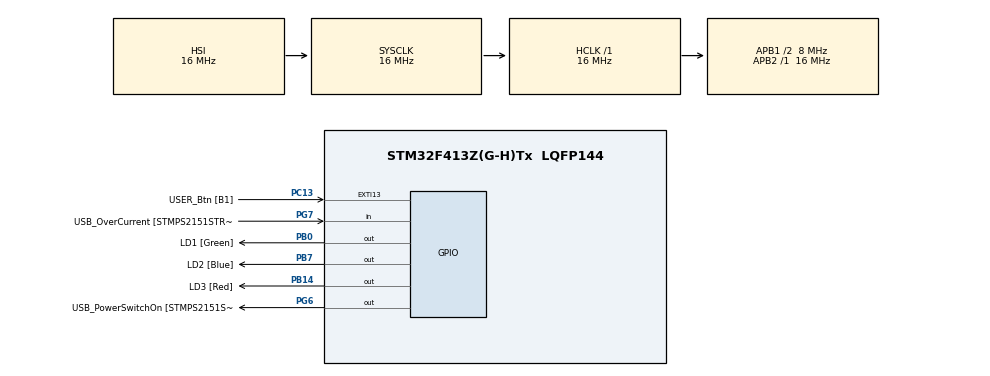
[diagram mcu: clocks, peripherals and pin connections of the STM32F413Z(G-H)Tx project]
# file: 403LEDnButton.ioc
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Mcu.Family=STM32F4
Mcu.Name=STM32F413Z(G-H)Tx
Mcu.Package=LQFP144
NVIC.PriorityGroup=NVIC_PRIORITYGROUP_4
NVIC.TIM6_DAC_IRQn=true\:15\:0\:false\:false\:true\:false\:true\:true
NVIC.TimeBase=TIM6_DAC_IRQn
NVIC.TimeBaseIP=TIM6
PA10.GPIO_Label=USB_ID
PA10.Signal=USB_OTG_FS_ID
PA11.GPIO_Label=USB_DM
PA11.Signal=USB_OTG_FS_DM
PA12.GPIO_Label=USB_DP
PA12.Signal=USB_OTG_FS_DP
PA13.GPIO_Label=TMS
PA13.Signal=SYS_JTMS-SWDIO
PA14.GPIO_Label=TCK
PA14.Signal=SYS_JTCK-SWCLK
PA8.GPIO_Label=USB_SOF [TP1]
PA8.Signal=USB_OTG_FS_SOF
PA9.GPIO_Label=USB_VBUS
PA9.Signal=USB_OTG_FS_VBUS
PB0.GPIO_Label=LD1 [Green]
PB0.Signal=GPIO_Output
PB14.GPIO_Label=LD3 [Red]
PB14.Signal=GPIO_Output
PB3.GPIO_Label=SWO
PB3.Signal=SYS_JTDO-SWO
PB7.GPIO_Label=LD2 [Blue]
PB7.Signal=GPIO_Output
PC13.GPIO_Label=USER_Btn [B1]
PC13.Signal=GPXTI13
PC14-OSC32_IN.Signal=RCC_OSC32_IN
PC15-OSC32_OUT.Signal=RCC_OSC32_OUT
PD8.GPIO_Label=STLK_RX [STM32F103CBT6_PA3]
PD8.Signal=USART3_TX
PD9.GPIO_Label=STLK_TX [STM32F103CBT6_PA2]
PD9.Signal=USART3_RX
PG6.GPIO_Label=USB_PowerSwitchOn [STMPS2151STR_EN]
PG6.Signal=GPIO_Output
PG7.GPIO_Label=USB_OverCurrent [STMPS2151STR_FAULT]
PG7.Signal=GPIO_Input
PH0\ -\ OSC_IN.GPIO_Label=MCO
PH0\ -\ OSC_IN.Signal=RCC_OSC_IN
PH1\ -\ OSC_OUT.Signal=RCC_OSC_OUT
ProjectManager.HeapSize=0x200
ProjectManager.StackSize=0x400
ProjectManager.TargetToolchain=STM32CubeIDE
RCC.48MHZClocksFreq_Value=24000000
RCC.AHBFreq_Value=16000000
RCC.APB1CLKDivider=RCC_HCLK_DIV2
RCC.APB1Freq_Value=8000000
RCC.APB1TimFreq_Value=16000000
RCC.APB2Freq_Value=16000000
RCC.APB2TimFreq_Value=16000000
RCC.CortexFreq_Value=16000000
RCC.HCLKFreq_Value=16000000
RCC.HSE_VALUE=8000000
RCC.HSI_VALUE=16000000
RCC.PLLMUL=RCC_PLL_MUL9
RCC.PRESCALERUSB=RCC_USBCLKSOURCE_PLL_DIV1_5
RCC.SYSCLKFreq_VALUE=16000000
RCC.SYSCLKSourceVirtual=RCC_SYSCLKSOURCE_PLLCLK
RCC.USBFreq_Value=96000000
RCC.VCOOutputFreq_Value=192000000
VP_SYS_VS_tim6.Mode=TIM6
board=NUCLEO-F413ZH

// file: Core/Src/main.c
/* USER CODE BEGIN Header */
/**
  ******************************************************************************
  * @file           : main.c
  * @brief          : Main program body
  ******************************************************************************
  * @attention
  *
  * Copyright (c) 2024 STMicroelectronics.
  * All rights reserved.
  *
  * This software is licensed under terms that can be found in the LICENSE file
  * in the root directory of this software component.
  * If no LICENSE file comes with this software, it is provided AS-IS.
  *
  ******************************************************************************
  */
/* USER CODE END Header */
#include "main.h"

/* USER CODE BEGIN Includes */
#include <stdio.h>
#include "FreeRTOS.h"
#include "task.h"
/* USER CODE END Includes */

/* USER CODE BEGIN PV */
#define DWT_CTRL (*(volatile uint32_t*)0xE0001000)

TaskHandle_t LED1_task_handle;
TaskHandle_t LED2_task_handle;
TaskHandle_t LED3_task_handle;
TaskHandle_t BTN_task_handle;

TaskHandle_t next_task_handle = NULL;

BaseType_t status;
/* USER CODE END PV */

void SystemClock_Config(void);
static void MX_GPIO_Init(void);
/* USER CODE BEGIN PFP */

static void led_green_handler(void* parameters);
static void led_blue_handler(void* parameters);
static void led_red_handler(void* parameters);
static void btn_handler(void* parameters);

/* USER CODE END PFP */

int main(void)
{

  /* MCU Configuration--------------------------------------------------------*/

  /* Reset of all peripherals, Initializes the Flash interface and the Systick. */
  HAL_Init();

  /* Configure the system clock */
  SystemClock_Config();

  /* Initialize all configured peripherals */
  MX_GPIO_Init();
  /* USER CODE BEGIN 2 */

  DWT_CTRL |= (1<<0);

  SEGGER_SYSVIEW_Conf();

  SEGGER_SYSVIEW_Start();

  status = xTaskCreate(led_green_handler, "LED_green_task", 200, NULL, 3, &LED1_task_handle);

  configASSERT(status == pdPASS);

  next_task_handle = LED1_task_handle;

  status = xTaskCreate(led_blue_handler, "LED_blue_task", 200, NULL, 2, &LED2_task_handle);

  configASSERT(status == pdPASS);

  status = xTaskCreate(led_red_handler, "LED_red_task", 200, NULL, 1, &LED3_task_handle);

  configASSERT(status == pdPASS);

  status = xTaskCreate(btn_handler, "Button_task", 200, NULL, 4, &BTN_task_handle);

  configASSERT(status == pdPASS);

  //Start the FreeRTOS scheduler
  vTaskStartScheduler();

  /* USER CODE END 2 */

  /* Infinite loop */
  while (1)
  {

  }
}

void SystemClock_Config(void)
{
  RCC_OscInitTypeDef RCC_OscInitStruct = {0};
  RCC_ClkInitTypeDef RCC_ClkInitStruct = {0};

  /** Configure the main internal regulator output voltage
  */
  __HAL_RCC_PWR_CLK_ENABLE();
  __HAL_PWR_VOLTAGESCALING_CONFIG(PWR_REGULATOR_VOLTAGE_SCALE1);

  /** Initializes the RCC Oscillators according to the specified parameters
  * in the RCC_OscInitTypeDef structure.
  */
  RCC_OscInitStruct.OscillatorType = RCC_OSCILLATORTYPE_HSI;
  RCC_OscInitStruct.HSIState = RCC_HSI_ON;
  RCC_OscInitStruct.HSICalibrationValue = RCC_HSICALIBRATION_DEFAULT;
  RCC_OscInitStruct.PLL.PLLState = RCC_PLL_NONE;
  if (HAL_RCC_OscConfig(&RCC_OscInitStruct) != HAL_OK)
  {
    Error_Handler();
  }

  /** Initializes the CPU, AHB and APB buses clocks
  */
  RCC_ClkInitStruct.ClockType = RCC_CLOCKTYPE_HCLK|RCC_CLOCKTYPE_SYSCLK
                              |RCC_CLOCKTYPE_PCLK1|RCC_CLOCKTYPE_PCLK2;
  RCC_ClkInitStruct.SYSCLKSource = RCC_SYSCLKSOURCE_HSI;
  RCC_ClkInitStruct.AHBCLKDivider = RCC_SYSCLK_DIV1;
  RCC_ClkInitStruct.APB1CLKDivider = RCC_HCLK_DIV2;
  RCC_ClkInitStruct.APB2CLKDivider = RCC_HCLK_DIV1;

  if (HAL_RCC_ClockConfig(&RCC_ClkInitStruct, FLASH_LATENCY_0) != HAL_OK)
  {
    Error_Handler();
  }
}

static void MX_GPIO_Init(void)
{
  GPIO_InitTypeDef GPIO_InitStruct = {0};

  /* GPIO Ports Clock Enable */
  __HAL_RCC_GPIOC_CLK_ENABLE();
  __HAL_RCC_GPIOH_CLK_ENABLE();
  __HAL_RCC_GPIOB_CLK_ENABLE();
  __HAL_RCC_GPIOD_CLK_ENABLE();
  __HAL_RCC_GPIOG_CLK_ENABLE();
  __HAL_RCC_GPIOA_CLK_ENABLE();

  /*Configure GPIO pin Output Level */
  HAL_GPIO_WritePin(GPIOB, LD1_Pin|LD3_Pin|LD2_Pin, GPIO_PIN_RESET);

  /*Configure GPIO pin Output Level */
  HAL_GPIO_WritePin(USB_PowerSwitchOn_GPIO_Port, USB_PowerSwitchOn_Pin, GPIO_PIN_RESET);

  /*Configure GPIO pin : USER_Btn_Pin */
  GPIO_InitStruct.Pin = USER_Btn_Pin;
  GPIO_InitStruct.Mode = GPIO_MODE_IT_RISING;
  GPIO_InitStruct.Pull = GPIO_NOPULL;
  HAL_GPIO_Init(USER_Btn_GPIO_Port, &GPIO_InitStruct);

  /*Configure GPIO pins : LD1_Pin LD3_Pin LD2_Pin */
  GPIO_InitStruct.Pin = LD1_Pin|LD3_Pin|LD2_Pin;
  GPIO_InitStruct.Mode = GPIO_MODE_OUTPUT_PP;
  GPIO_InitStruct.Pull = GPIO_NOPULL;
  GPIO_InitStruct.Speed = GPIO_SPEED_FREQ_LOW;
  HAL_GPIO_Init(GPIOB, &GPIO_InitStruct);

  /*Configure GPIO pins : STLK_RX_Pin STLK_TX_Pin */
  GPIO_InitStruct.Pin = STLK_RX_Pin|STLK_TX_Pin;
  GPIO_InitStruct.Mode = GPIO_MODE_AF_PP;
  GPIO_InitStruct.Pull = GPIO_NOPULL;
  GPIO_InitStruct.Speed = GPIO_SPEED_FREQ_VERY_HIGH;
  GPIO_InitStruct.Alternate = GPIO_AF7_USART3;
  HAL_GPIO_Init(GPIOD, &GPIO_InitStruct);

  /*Configure GPIO pin : USB_PowerSwitchOn_Pin */
  GPIO_InitStruct.Pin = USB_PowerSwitchOn_Pin;
  GPIO_InitStruct.Mode = GPIO_MODE_OUTPUT_PP;
  GPIO_InitStruct.Pull = GPIO_NOPULL;
  GPIO_InitStruct.Speed = GPIO_SPEED_FREQ_LOW;
  HAL_GPIO_Init(USB_PowerSwitchOn_GPIO_Port, &GPIO_InitStruct);

  /*Configure GPIO pin : USB_OverCurrent_Pin */
  GPIO_InitStruct.Pin = USB_OverCurrent_Pin;
  GPIO_InitStruct.Mode = GPIO_MODE_INPUT;
  GPIO_InitStruct.Pull = GPIO_NOPULL;
  HAL_GPIO_Init(USB_OverCurrent_GPIO_Port, &GPIO_InitStruct);

  /*Configure GPIO pins : USB_SOF_Pin USB_ID_Pin USB_DM_Pin USB_DP_Pin */
  GPIO_InitStruct.Pin = USB_SOF_Pin|USB_ID_Pin|USB_DM_Pin|USB_DP_Pin;
  GPIO_InitStruct.Mode = GPIO_MODE_AF_PP;
  GPIO_InitStruct.Pull = GPIO_NOPULL;
  GPIO_InitStruct.Speed = GPIO_SPEED_FREQ_VERY_HIGH;
  GPIO_InitStruct.Alternate = GPIO_AF10_OTG_FS;
  HAL_GPIO_Init(GPIOA, &GPIO_InitStruct);

}

/* USER CODE BEGIN 4 */
static void led_green_handler(void* parameters){
	BaseType_t status_2;
	while(1){
		//SEGGER_SYSVIEW_OnTaskStartExec(1);
		SEGGER_SYSVIEW_PrintfTarget("Toggling green LED");
		HAL_GPIO_TogglePin(GPIOB,LD1_Pin);
		status_2 = xTaskNotifyWait(0,0,NULL,pdMS_TO_TICKS(1000));
		if(status_2 == pdTRUE){
			vTaskSuspendAll();
			next_task_handle = LED2_task_handle;
			xTaskResumeAll();
			HAL_GPIO_WritePin(GPIOB,LD1_Pin,GPIO_PIN_SET);
			SEGGER_SYSVIEW_PrintfTarget("Delete green LED task");
			//SEGGER_SYSVIEW_OnTaskStopExec();
			vTaskDelete(NULL);
			}
		//SEGGER_SYSVIEW_OnTaskStopExec();
	}
}

static void led_blue_handler(void* parameters){
	BaseType_t status_2;
	while(1){
		//SEGGER_SYSVIEW_OnTaskStartExec(2);
		SEGGER_SYSVIEW_PrintfTarget("Toggling blue LED");
		HAL_GPIO_TogglePin(GPIOB,LD2_Pin);
		status_2 = xTaskNotifyWait(0,0,NULL,pdMS_TO_TICKS(800));
		if(status_2 == pdTRUE){
			vTaskSuspendAll();
			next_task_handle = LED3_task_handle;
			xTaskResumeAll();
			HAL_GPIO_WritePin(GPIOB,LD2_Pin,GPIO_PIN_SET);
			SEGGER_SYSVIEW_PrintfTarget("Delete blue LED task");
			//SEGGER_SYSVIEW_OnTaskStopExec();
			vTaskDelete(NULL);
		}
		//SEGGER_SYSVIEW_OnTaskStopExec();
	}
}

static void led_red_handler(void* parameters){
	BaseType_t status_2;
	while(1){
		//SEGGER_SYSVIEW_OnTaskStartExec(3);
		SEGGER_SYSVIEW_PrintfTarget("Toggling red LED");
		HAL_GPIO_TogglePin(GPIOB,LD3_Pin);
		status_2 = xTaskNotifyWait(0,0,NULL,pdMS_TO_TICKS(400));
		if(status_2 == pdTRUE){
			vTaskSuspendAll();
			next_task_handle = NULL;
			xTaskResumeAll();
			HAL_GPIO_WritePin(GPIOB,LD3_Pin,GPIO_PIN_SET);
			SEGGER_SYSVIEW_PrintfTarget("Delete red LED task");
			vTaskDelete(BTN_task_handle);
			//SEGGER_SYSVIEW_OnTaskStopExec();
			vTaskDelete(NULL);
		}
		//SEGGER_SYSVIEW_OnTaskStopExec();
	}
}

static void btn_handler(void* parameters){

	uint8_t btn_read = 0;
	uint8_t prev_read = 0;

	while(1){
		btn_read = HAL_GPIO_ReadPin(GPIOC, GPIO_PIN_13);

		if(btn_read){
			if(! prev_read){
				xTaskNotify(next_task_handle ,0,eNoAction);
			}
		}
		prev_read = btn_read;
		vTaskDelay(pdMS_TO_TICKS(10));
	}
}
/* USER CODE END 4 */

void HAL_TIM_PeriodElapsedCallback(TIM_HandleTypeDef *htim)
{
  if (htim->Instance == TIM6) {
    HAL_IncTick();
  }
}

void Error_Handler(void)
{
  __disable_irq();
  while (1)
  {
  }
}
